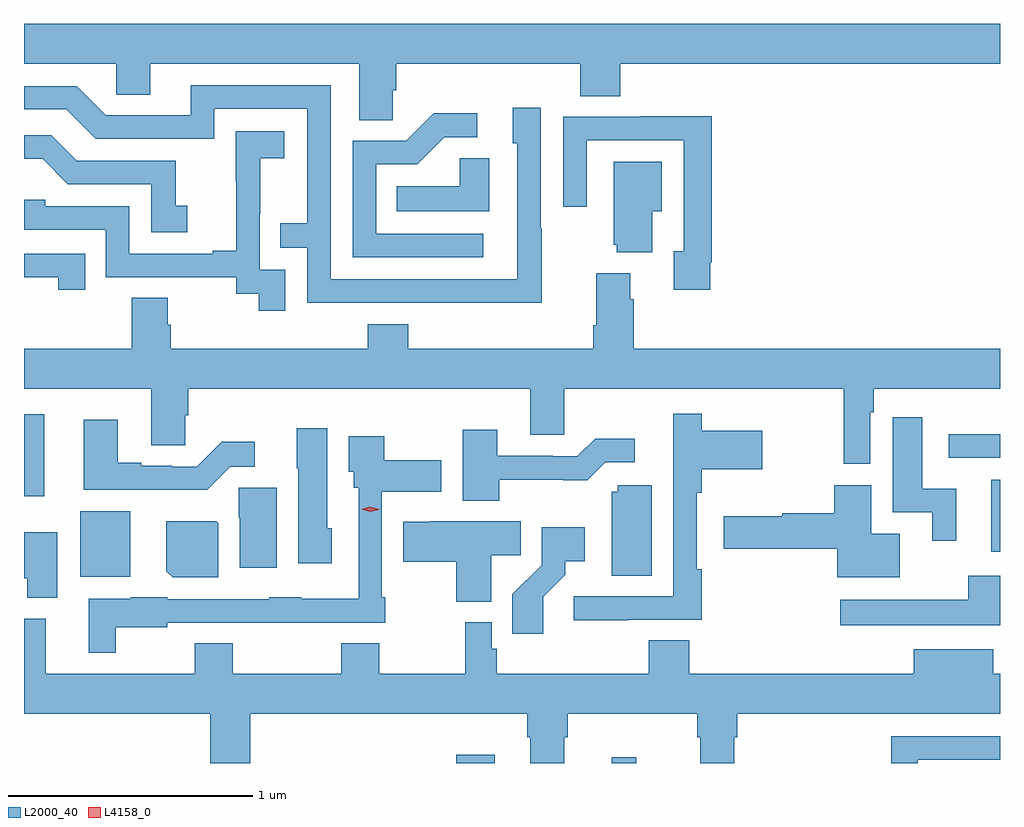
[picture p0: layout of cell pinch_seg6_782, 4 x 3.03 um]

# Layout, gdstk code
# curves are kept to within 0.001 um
import gdstk
lib = gdstk.Library(unit=1e-6, precision=1e-09)
def R(c, l, rs):  # rectangles x0, y0, x1, y1
    for r in rs: c.add(gdstk.rectangle(r[:2], r[2:], *l))
def P(c, l, *ps):  # polygons
    for p in ps: c.add(gdstk.Polygon(p, *l))
L2000_40 = (2000, 40)
L4158_0 = (4158, 0)

pinch_seg6_782 = lib.new_cell('pinch_seg6_782')
R(pinch_seg6_782, L2000_40, [(183.554,973.772,183.712,973.807), (184.19,973.772,184.292,973.798), (182.012,974.537,182.218,974.806), (185.747,974.639,185.782,974.935), (181.782,974.867,181.866,975.202), (185.571,975.024,185.782,975.122)])
P(pinch_seg6_782, L2000_40, [(183.294,976.531),(183.308,976.531),(183.308,976.64),(184.061,976.64),(184.061,976.507),(184.226,976.507),(184.226,976.64),(185.782,976.64),(185.782,976.804),(181.782,976.804),(181.782,976.64),(182.16,976.64),(182.16,976.513),(182.299,976.513),(182.299,976.64),(183.155,976.64),(183.155,976.408),(183.294,976.408)],
  [(183.903,975.965),(183.9,975.965),(183.9,976.459),(183.785,976.459),(183.785,976.314),(183.804,976.314),(183.804,975.756),(183.039,975.756),(183.039,976.551),(182.465,976.551),(182.465,976.428),(182.118,976.428),(181.998,976.548),(181.782,976.548),(181.782,976.452),(181.956,976.452),(182.076,976.332),(182.562,976.332),(182.562,976.455),(182.943,976.455),(182.943,975.986),(182.833,975.986),(182.833,975.885),(182.943,975.885),(182.943,975.66),(183.903,975.659)],
  [(183.664,975.942),(183.225,975.942),(183.225,976.227),(183.394,976.227),(183.505,976.338),(183.64,976.338),(183.64,976.436),(183.461,976.436),(183.348,976.323),(183.129,976.323),(183.129,975.846),(183.664,975.846)],
  [(184.594,975.826),(184.601,975.826),(184.601,976.424),(184.309,976.424),(184.309,976.422),(183.993,976.422),(183.993,976.053),(184.089,976.053),(184.089,976.326),(184.485,976.326),(184.485,975.87),(184.445,975.87),(184.445,975.714),(184.594,975.714)],
  [(182.853,975.795),(182.748,975.795),(182.748,976.025),(182.75,976.025),(182.75,976.253),(182.848,976.253),(182.848,976.363),(182.65,976.363),(182.65,976.157),(182.651,976.157),(182.651,975.874),(182.555,975.874),(182.555,975.861),(182.214,975.861),(182.214,976.056),(181.869,976.056),(181.869,976.083),(181.782,976.083),(181.782,975.96),(182.118,975.96),(182.118,975.765),(182.652,975.765),(182.652,975.697),(182.745,975.697),(182.745,975.627),(182.853,975.627)],
  [(182.452,976.057),(182.403,976.057),(182.403,976.242),(181.999,976.242),(181.894,976.347),(181.782,976.347),(181.782,976.25),(181.858,976.25),(181.962,976.146),(182.304,976.146),(182.304,975.948),(182.452,975.948)],
  [(183.688,976.253),(183.567,976.253),(183.567,976.138),(183.31,976.138),(183.31,976.034),(183.688,976.034)],
  [(184.357,976.034),(184.396,976.034),(184.396,976.237),(184.199,976.237),(184.199,975.897),(184.211,975.897),(184.211,975.866),(184.357,975.866)],
  [(182.033,975.861),(181.782,975.861),(181.782,975.765),(181.922,975.765),(181.922,975.714),(182.033,975.714)],
  [(185.142,975),(185.25,975),(185.25,975.212),(185.265,975.212),(185.265,975.308),(185.782,975.308),(185.782,975.472),(184.28,975.472),(184.28,975.674),(184.267,975.674),(184.267,975.781),(184.127,975.781),(184.127,975.568),(184.115,975.568),(184.115,975.472),(183.356,975.472),(183.356,975.571),(183.191,975.571),(183.191,975.472),(182.384,975.472),(182.384,975.57),(182.371,975.57),(182.371,975.68),(182.224,975.68),(182.224,975.472),(181.782,975.472),(181.782,975.308),(182.303,975.308),(182.303,975.076),(182.442,975.076),(182.442,975.198),(182.456,975.198),(182.456,975.308),(183.857,975.308),(183.857,975.118),(183.996,975.118),(183.996,975.308),(185.142,975.308)],
  [(184.259,974.361),(184.559,974.361),(184.559,974.567),(184.539,974.567),(184.539,974.882),(184.559,974.882),(184.559,974.978),(184.807,974.978),(184.807,975.136),(184.559,975.136),(184.559,975.205),(184.442,975.205),(184.442,974.982),(184.443,974.982),(184.443,974.457),(184.035,974.457),(184.035,974.359),(184.259,974.359)],
  [(185.602,974.898),(185.464,974.898),(185.464,975.19),(185.343,975.19),(185.343,975.077),(185.342,975.077),(185.342,974.802),(185.504,974.802),(185.504,974.685),(185.602,974.685)],
  [(182.628,974.988),(182.728,974.988),(182.728,975.091),(182.593,975.091),(182.49,974.988),(182.39,974.988),(182.39,974.991),(182.263,974.991),(182.263,975.004),(182.167,975.004),(182.167,975.181),(182.027,975.181),(182.027,974.894),(182.533,974.894)],
  [(183.043,974.736),(183.025,974.736),(183.025,975.145),(182.9,975.145),(182.9,974.982),(182.906,974.982),(182.906,974.592),(183.043,974.592)],
  [(183.729,974.934),(184.091,974.933),(184.164,975.006),(184.285,975.006),(184.285,975.103),(184.123,975.103),(184.05,975.03),(183.95,975.03),(183.95,975.033),(183.721,975.033),(183.721,975.139),(183.581,975.139),(183.581,974.849),(183.729,974.849)],
  [(182.158,974.33),(182.37,974.33),(182.37,974.349),(182.787,974.349),(182.787,974.348),(183.019,974.348),(183.019,974.349),(183.262,974.349),(183.262,974.452),(183.249,974.452),(183.249,974.885),(183.493,974.885),(183.493,975.015),(183.258,975.015),(183.258,975.112),(183.113,975.112),(183.113,974.967),(183.134,974.967),(183.134,974.901),(183.153,974.901),(183.153,974.446),(182.919,974.446),(182.919,974.452),(182.787,974.452),(182.787,974.445),(182.37,974.445),(182.37,974.452),(182.22,974.452),(182.22,974.446),(182.048,974.446),(182.048,974.225),(182.158,974.225)],
  [(184.354,974.913),(184.215,974.913),(184.215,974.886),(184.19,974.886),(184.19,974.542),(184.354,974.542)],
  [(185.371,974.713),(185.254,974.713),(185.254,974.911),(185.102,974.911),(185.102,974.798),(184.89,974.798),(184.89,974.785),(184.65,974.785),(184.65,974.651),(185.114,974.651),(185.114,974.534),(185.371,974.534)],
  [(182.818,974.901),(182.662,974.901),(182.662,974.778),(182.666,974.778),(182.666,974.574),(182.818,974.574)],
  [(182.578,974.756),(182.57,974.764),(182.366,974.764),(182.366,974.56),(182.392,974.534),(182.578,974.534)],
  [(183.697,974.626),(183.818,974.626),(183.818,974.764),(183.448,974.764),(183.448,974.763),(183.336,974.763),(183.336,974.599),(183.553,974.599),(183.553,974.435),(183.697,974.435)],
  [(183.91,974.455),(184,974.545),(184,974.6),(184.081,974.6),(184.081,974.74),(183.903,974.74),(183.903,974.585),(183.784,974.466),(183.784,974.304),(183.91,974.304)],
  [(181.918,974.719),(181.782,974.719),(181.782,974.531),(181.796,974.531),(181.796,974.45),(181.918,974.45)],
  [(185.782,974.542),(185.651,974.542),(185.651,974.443),(185.127,974.443),(185.127,974.339),(185.782,974.339)],
  [(182.71,973.976),(183.845,973.976),(183.845,973.88),(183.857,973.88),(183.857,973.772),(183.997,973.772),(183.997,973.88),(184.01,973.88),(184.01,973.976),(184.541,973.976),(184.541,973.88),(184.553,973.88),(184.553,973.772),(184.693,973.772),(184.693,973.88),(184.706,973.88),(184.706,973.976),(185.782,973.976),(185.782,974.14),(185.755,974.14),(185.755,974.239),(185.429,974.239),(185.429,974.14),(184.508,974.14),(184.508,974.276),(184.343,974.276),(184.343,974.14),(183.719,974.14),(183.719,974.241),(183.699,974.241),(183.699,974.35),(183.591,974.35),(183.591,974.14),(183.237,974.14),(183.237,974.264),(183.082,974.264),(183.082,974.14),(182.637,974.14),(182.637,974.264),(182.482,974.264),(182.482,974.14),(181.871,974.14),(181.871,974.365),(181.782,974.365),(181.782,973.976),(182.546,973.976),(182.546,973.772),(182.71,973.772)],
  [(185.445,973.788),(185.782,973.788),(185.782,973.884),(185.337,973.884),(185.337,973.772),(185.445,973.772)])
P(pinch_seg6_782, L4158_0, [(183.201,974.803),(183.165,974.813),(183.165,974.813),(183.165,974.813),(183.201,974.823),(183.236,974.813),(183.236,974.812),(183.236,974.812)])

lib.write_gds('pinch_seg6_782.gds')
